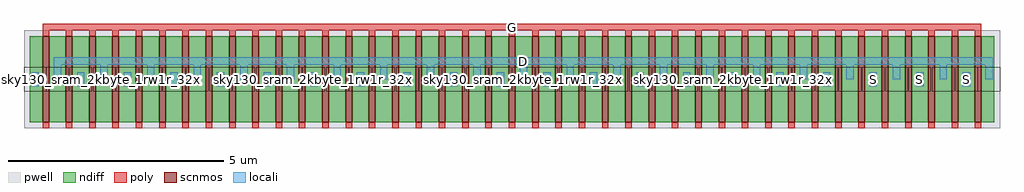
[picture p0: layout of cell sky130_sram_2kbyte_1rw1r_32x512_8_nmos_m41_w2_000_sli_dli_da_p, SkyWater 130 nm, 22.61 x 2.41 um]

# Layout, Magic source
magic
tech sky130A
magscale 1 2
<< pwell >>
rect -26 -26 4496 426
<< scnmos >>
rect 60 0 90 400
rect 168 0 198 400
rect 276 0 306 400
rect 384 0 414 400
rect 492 0 522 400
rect 600 0 630 400
rect 708 0 738 400
rect 816 0 846 400
rect 924 0 954 400
rect 1032 0 1062 400
rect 1140 0 1170 400
rect 1248 0 1278 400
rect 1356 0 1386 400
rect 1464 0 1494 400
rect 1572 0 1602 400
rect 1680 0 1710 400
rect 1788 0 1818 400
rect 1896 0 1926 400
rect 2004 0 2034 400
rect 2112 0 2142 400
rect 2220 0 2250 400
rect 2328 0 2358 400
rect 2436 0 2466 400
rect 2544 0 2574 400
rect 2652 0 2682 400
rect 2760 0 2790 400
rect 2868 0 2898 400
rect 2976 0 3006 400
rect 3084 0 3114 400
rect 3192 0 3222 400
rect 3300 0 3330 400
rect 3408 0 3438 400
rect 3516 0 3546 400
rect 3624 0 3654 400
rect 3732 0 3762 400
rect 3840 0 3870 400
rect 3948 0 3978 400
rect 4056 0 4086 400
rect 4164 0 4194 400
rect 4272 0 4302 400
rect 4380 0 4410 400
<< ndiff >>
rect 0 0 60 400
rect 90 0 168 400
rect 198 0 276 400
rect 306 0 384 400
rect 414 0 492 400
rect 522 0 600 400
rect 630 0 708 400
rect 738 0 816 400
rect 846 0 924 400
rect 954 0 1032 400
rect 1062 0 1140 400
rect 1170 0 1248 400
rect 1278 0 1356 400
rect 1386 0 1464 400
rect 1494 0 1572 400
rect 1602 0 1680 400
rect 1710 0 1788 400
rect 1818 0 1896 400
rect 1926 0 2004 400
rect 2034 0 2112 400
rect 2142 0 2220 400
rect 2250 0 2328 400
rect 2358 0 2436 400
rect 2466 0 2544 400
rect 2574 0 2652 400
rect 2682 0 2760 400
rect 2790 0 2868 400
rect 2898 0 2976 400
rect 3006 0 3084 400
rect 3114 0 3192 400
rect 3222 0 3300 400
rect 3330 0 3408 400
rect 3438 0 3516 400
rect 3546 0 3624 400
rect 3654 0 3732 400
rect 3762 0 3840 400
rect 3870 0 3948 400
rect 3978 0 4056 400
rect 4086 0 4164 400
rect 4194 0 4272 400
rect 4302 0 4380 400
rect 4410 0 4470 400
<< poly >>
rect 60 426 4410 456
rect 60 400 90 426
rect 168 400 198 426
rect 276 400 306 426
rect 384 400 414 426
rect 492 400 522 426
rect 600 400 630 426
rect 708 400 738 426
rect 816 400 846 426
rect 924 400 954 426
rect 1032 400 1062 426
rect 1140 400 1170 426
rect 1248 400 1278 426
rect 1356 400 1386 426
rect 1464 400 1494 426
rect 1572 400 1602 426
rect 1680 400 1710 426
rect 1788 400 1818 426
rect 1896 400 1926 426
rect 2004 400 2034 426
rect 2112 400 2142 426
rect 2220 400 2250 426
rect 2328 400 2358 426
rect 2436 400 2466 426
rect 2544 400 2574 426
rect 2652 400 2682 426
rect 2760 400 2790 426
rect 2868 400 2898 426
rect 2976 400 3006 426
rect 3084 400 3114 426
rect 3192 400 3222 426
rect 3300 400 3330 426
rect 3408 400 3438 426
rect 3516 400 3546 426
rect 3624 400 3654 426
rect 3732 400 3762 426
rect 3840 400 3870 426
rect 3948 400 3978 426
rect 4056 400 4086 426
rect 4164 400 4194 426
rect 4272 400 4302 426
rect 4380 400 4410 426
rect 60 -26 90 0
rect 168 -26 198 0
rect 276 -26 306 0
rect 384 -26 414 0
rect 492 -26 522 0
rect 600 -26 630 0
rect 708 -26 738 0
rect 816 -26 846 0
rect 924 -26 954 0
rect 1032 -26 1062 0
rect 1140 -26 1170 0
rect 1248 -26 1278 0
rect 1356 -26 1386 0
rect 1464 -26 1494 0
rect 1572 -26 1602 0
rect 1680 -26 1710 0
rect 1788 -26 1818 0
rect 1896 -26 1926 0
rect 2004 -26 2034 0
rect 2112 -26 2142 0
rect 2220 -26 2250 0
rect 2328 -26 2358 0
rect 2436 -26 2466 0
rect 2544 -26 2574 0
rect 2652 -26 2682 0
rect 2760 -26 2790 0
rect 2868 -26 2898 0
rect 2976 -26 3006 0
rect 3084 -26 3114 0
rect 3192 -26 3222 0
rect 3300 -26 3330 0
rect 3408 -26 3438 0
rect 3516 -26 3546 0
rect 3624 -26 3654 0
rect 3732 -26 3762 0
rect 3840 -26 3870 0
rect 3948 -26 3978 0
rect 4056 -26 4086 0
rect 4164 -26 4194 0
rect 4272 -26 4302 0
rect 4380 -26 4410 0
<< locali >>
rect 112 267 4462 301
rect 8 167 42 233
rect 112 200 146 267
rect 220 167 254 233
rect 328 200 362 267
rect 436 167 470 233
rect 544 200 578 267
rect 652 167 686 233
rect 760 200 794 267
rect 868 167 902 233
rect 976 200 1010 267
rect 1084 167 1118 233
rect 1192 200 1226 267
rect 1300 167 1334 233
rect 1408 200 1442 267
rect 1516 167 1550 233
rect 1624 200 1658 267
rect 1732 167 1766 233
rect 1840 200 1874 267
rect 1948 167 1982 233
rect 2056 200 2090 267
rect 2164 167 2198 233
rect 2272 200 2306 267
rect 2380 167 2414 233
rect 2488 200 2522 267
rect 2596 167 2630 233
rect 2704 200 2738 267
rect 2812 167 2846 233
rect 2920 200 2954 267
rect 3028 167 3062 233
rect 3136 200 3170 267
rect 3244 167 3278 233
rect 3352 200 3386 267
rect 3460 167 3494 233
rect 3568 200 3602 267
rect 3676 167 3710 233
rect 3784 200 3818 267
rect 3892 167 3926 233
rect 4000 200 4034 267
rect 4108 167 4142 233
rect 4216 200 4250 267
rect 4324 167 4358 233
rect 4428 200 4462 267
use sky130_sram_2kbyte_1rw1r_32x512_8_contact_11  sky130_sram_2kbyte_1rw1r_32x512_8_contact_11_41
transform 1 0 0 0 1 167
box -26 -22 76 88
use sky130_sram_2kbyte_1rw1r_32x512_8_contact_11  sky130_sram_2kbyte_1rw1r_32x512_8_contact_11_40
transform 1 0 104 0 1 167
box -26 -22 76 88
use sky130_sram_2kbyte_1rw1r_32x512_8_contact_11  sky130_sram_2kbyte_1rw1r_32x512_8_contact_11_39
transform 1 0 212 0 1 167
box -26 -22 76 88
use sky130_sram_2kbyte_1rw1r_32x512_8_contact_11  sky130_sram_2kbyte_1rw1r_32x512_8_contact_11_38
transform 1 0 320 0 1 167
box -26 -22 76 88
use sky130_sram_2kbyte_1rw1r_32x512_8_contact_11  sky130_sram_2kbyte_1rw1r_32x512_8_contact_11_37
transform 1 0 428 0 1 167
box -26 -22 76 88
use sky130_sram_2kbyte_1rw1r_32x512_8_contact_11  sky130_sram_2kbyte_1rw1r_32x512_8_contact_11_36
transform 1 0 536 0 1 167
box -26 -22 76 88
use sky130_sram_2kbyte_1rw1r_32x512_8_contact_11  sky130_sram_2kbyte_1rw1r_32x512_8_contact_11_35
transform 1 0 644 0 1 167
box -26 -22 76 88
use sky130_sram_2kbyte_1rw1r_32x512_8_contact_11  sky130_sram_2kbyte_1rw1r_32x512_8_contact_11_34
transform 1 0 752 0 1 167
box -26 -22 76 88
use sky130_sram_2kbyte_1rw1r_32x512_8_contact_11  sky130_sram_2kbyte_1rw1r_32x512_8_contact_11_33
transform 1 0 860 0 1 167
box -26 -22 76 88
use sky130_sram_2kbyte_1rw1r_32x512_8_contact_11  sky130_sram_2kbyte_1rw1r_32x512_8_contact_11_32
transform 1 0 968 0 1 167
box -26 -22 76 88
use sky130_sram_2kbyte_1rw1r_32x512_8_contact_11  sky130_sram_2kbyte_1rw1r_32x512_8_contact_11_31
transform 1 0 1076 0 1 167
box -26 -22 76 88
use sky130_sram_2kbyte_1rw1r_32x512_8_contact_11  sky130_sram_2kbyte_1rw1r_32x512_8_contact_11_30
transform 1 0 1184 0 1 167
box -26 -22 76 88
use sky130_sram_2kbyte_1rw1r_32x512_8_contact_11  sky130_sram_2kbyte_1rw1r_32x512_8_contact_11_29
transform 1 0 1292 0 1 167
box -26 -22 76 88
use sky130_sram_2kbyte_1rw1r_32x512_8_contact_11  sky130_sram_2kbyte_1rw1r_32x512_8_contact_11_28
transform 1 0 1400 0 1 167
box -26 -22 76 88
use sky130_sram_2kbyte_1rw1r_32x512_8_contact_11  sky130_sram_2kbyte_1rw1r_32x512_8_contact_11_27
transform 1 0 1508 0 1 167
box -26 -22 76 88
use sky130_sram_2kbyte_1rw1r_32x512_8_contact_11  sky130_sram_2kbyte_1rw1r_32x512_8_contact_11_26
transform 1 0 1616 0 1 167
box -26 -22 76 88
use sky130_sram_2kbyte_1rw1r_32x512_8_contact_11  sky130_sram_2kbyte_1rw1r_32x512_8_contact_11_25
transform 1 0 1724 0 1 167
box -26 -22 76 88
use sky130_sram_2kbyte_1rw1r_32x512_8_contact_11  sky130_sram_2kbyte_1rw1r_32x512_8_contact_11_24
transform 1 0 1832 0 1 167
box -26 -22 76 88
use sky130_sram_2kbyte_1rw1r_32x512_8_contact_11  sky130_sram_2kbyte_1rw1r_32x512_8_contact_11_23
transform 1 0 1940 0 1 167
box -26 -22 76 88
use sky130_sram_2kbyte_1rw1r_32x512_8_contact_11  sky130_sram_2kbyte_1rw1r_32x512_8_contact_11_22
transform 1 0 2048 0 1 167
box -26 -22 76 88
use sky130_sram_2kbyte_1rw1r_32x512_8_contact_11  sky130_sram_2kbyte_1rw1r_32x512_8_contact_11_21
transform 1 0 2156 0 1 167
box -26 -22 76 88
use sky130_sram_2kbyte_1rw1r_32x512_8_contact_11  sky130_sram_2kbyte_1rw1r_32x512_8_contact_11_20
transform 1 0 2264 0 1 167
box -26 -22 76 88
use sky130_sram_2kbyte_1rw1r_32x512_8_contact_11  sky130_sram_2kbyte_1rw1r_32x512_8_contact_11_19
transform 1 0 2372 0 1 167
box -26 -22 76 88
use sky130_sram_2kbyte_1rw1r_32x512_8_contact_11  sky130_sram_2kbyte_1rw1r_32x512_8_contact_11_18
transform 1 0 2480 0 1 167
box -26 -22 76 88
use sky130_sram_2kbyte_1rw1r_32x512_8_contact_11  sky130_sram_2kbyte_1rw1r_32x512_8_contact_11_17
transform 1 0 2588 0 1 167
box -26 -22 76 88
use sky130_sram_2kbyte_1rw1r_32x512_8_contact_11  sky130_sram_2kbyte_1rw1r_32x512_8_contact_11_16
transform 1 0 2696 0 1 167
box -26 -22 76 88
use sky130_sram_2kbyte_1rw1r_32x512_8_contact_11  sky130_sram_2kbyte_1rw1r_32x512_8_contact_11_15
transform 1 0 2804 0 1 167
box -26 -22 76 88
use sky130_sram_2kbyte_1rw1r_32x512_8_contact_11  sky130_sram_2kbyte_1rw1r_32x512_8_contact_11_14
transform 1 0 2912 0 1 167
box -26 -22 76 88
use sky130_sram_2kbyte_1rw1r_32x512_8_contact_11  sky130_sram_2kbyte_1rw1r_32x512_8_contact_11_13
transform 1 0 3020 0 1 167
box -26 -22 76 88
use sky130_sram_2kbyte_1rw1r_32x512_8_contact_11  sky130_sram_2kbyte_1rw1r_32x512_8_contact_11_12
transform 1 0 3128 0 1 167
box -26 -22 76 88
use sky130_sram_2kbyte_1rw1r_32x512_8_contact_11  sky130_sram_2kbyte_1rw1r_32x512_8_contact_11_11
transform 1 0 3236 0 1 167
box -26 -22 76 88
use sky130_sram_2kbyte_1rw1r_32x512_8_contact_11  sky130_sram_2kbyte_1rw1r_32x512_8_contact_11_10
transform 1 0 3344 0 1 167
box -26 -22 76 88
use sky130_sram_2kbyte_1rw1r_32x512_8_contact_11  sky130_sram_2kbyte_1rw1r_32x512_8_contact_11_9
transform 1 0 3452 0 1 167
box -26 -22 76 88
use sky130_sram_2kbyte_1rw1r_32x512_8_contact_11  sky130_sram_2kbyte_1rw1r_32x512_8_contact_11_8
transform 1 0 3560 0 1 167
box -26 -22 76 88
use sky130_sram_2kbyte_1rw1r_32x512_8_contact_11  sky130_sram_2kbyte_1rw1r_32x512_8_contact_11_7
transform 1 0 3668 0 1 167
box -26 -22 76 88
use sky130_sram_2kbyte_1rw1r_32x512_8_contact_11  sky130_sram_2kbyte_1rw1r_32x512_8_contact_11_6
transform 1 0 3776 0 1 167
box -26 -22 76 88
use sky130_sram_2kbyte_1rw1r_32x512_8_contact_11  sky130_sram_2kbyte_1rw1r_32x512_8_contact_11_5
transform 1 0 3884 0 1 167
box -26 -22 76 88
use sky130_sram_2kbyte_1rw1r_32x512_8_contact_11  sky130_sram_2kbyte_1rw1r_32x512_8_contact_11_4
transform 1 0 3992 0 1 167
box -26 -22 76 88
use sky130_sram_2kbyte_1rw1r_32x512_8_contact_11  sky130_sram_2kbyte_1rw1r_32x512_8_contact_11_3
transform 1 0 4100 0 1 167
box -26 -22 76 88
use sky130_sram_2kbyte_1rw1r_32x512_8_contact_11  sky130_sram_2kbyte_1rw1r_32x512_8_contact_11_2
transform 1 0 4208 0 1 167
box -26 -22 76 88
use sky130_sram_2kbyte_1rw1r_32x512_8_contact_11  sky130_sram_2kbyte_1rw1r_32x512_8_contact_11_1
transform 1 0 4316 0 1 167
box -26 -22 76 88
use sky130_sram_2kbyte_1rw1r_32x512_8_contact_11  sky130_sram_2kbyte_1rw1r_32x512_8_contact_11_0
transform 1 0 4420 0 1 167
box -26 -22 76 88
<< labels >>
rlabel locali s 1317 200 1317 200 4 S
rlabel locali s 237 200 237 200 4 S
rlabel locali s 3909 200 3909 200 4 S
rlabel locali s 3477 200 3477 200 4 S
rlabel locali s 4125 200 4125 200 4 S
rlabel locali s 1749 200 1749 200 4 S
rlabel locali s 4341 200 4341 200 4 S
rlabel locali s 2397 200 2397 200 4 S
rlabel locali s 453 200 453 200 4 S
rlabel locali s 2829 200 2829 200 4 S
rlabel locali s 885 200 885 200 4 S
rlabel locali s 1533 200 1533 200 4 S
rlabel locali s 3045 200 3045 200 4 S
rlabel locali s 2181 200 2181 200 4 S
rlabel locali s 1965 200 1965 200 4 S
rlabel locali s 2613 200 2613 200 4 S
rlabel locali s 1101 200 1101 200 4 S
rlabel locali s 669 200 669 200 4 S
rlabel locali s 25 200 25 200 4 S
rlabel locali s 3693 200 3693 200 4 S
rlabel locali s 3261 200 3261 200 4 S
rlabel locali s 2287 284 2287 284 4 D
rlabel poly s 2235 441 2235 441 4 G
<< properties >>
string FIXED_BBOX -25 -26 4495 456
<< end >>
